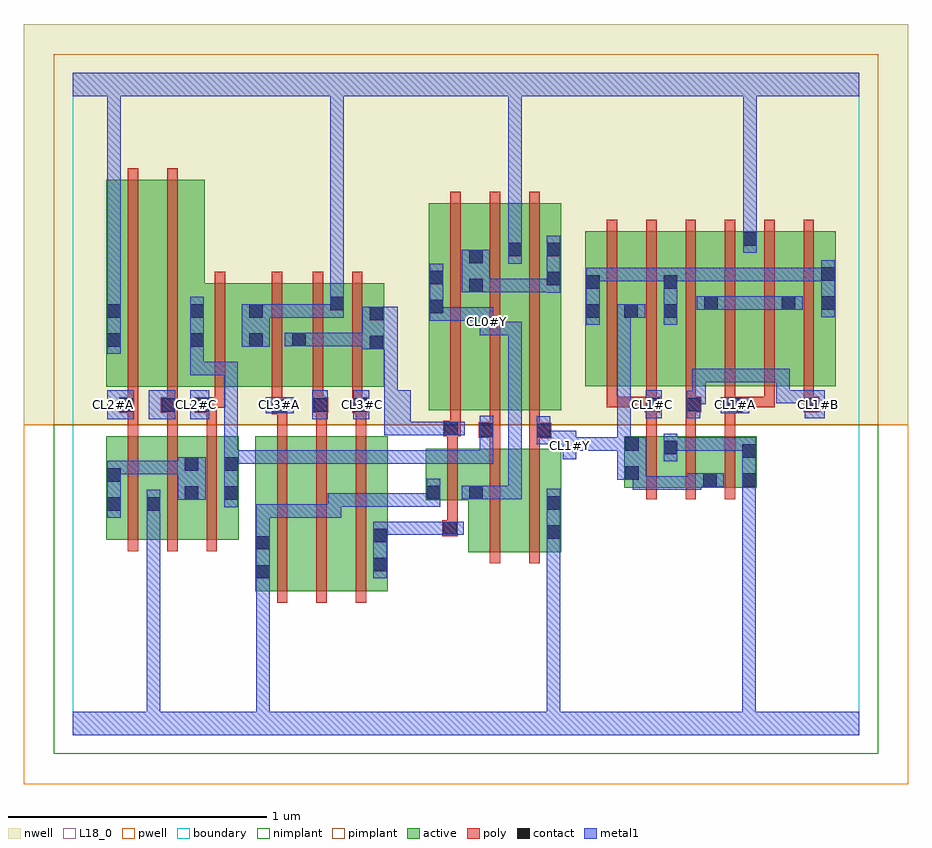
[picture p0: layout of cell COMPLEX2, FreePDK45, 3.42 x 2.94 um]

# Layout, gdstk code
import gdstk
lib = gdstk.Library(unit=1e-6, precision=1e-09)
def R(c, l, rs):  # rectangles x0, y0, x1, y1
    for r in rs: c.add(gdstk.rectangle(r[:2], r[2:], *l))
def A(c, l, x, y, w, h, nx, ny, dx, dy):  # array of equal rectangles
    R(c, l, [(x+i*dx, y+j*dy, x+i*dx+w, y+j*dy+h) for i in range(nx) for j in range(ny)])
active = (1, 0)
pwell = (2, 0)
nwell = (3, 0)
nimplant = (4, 0)
pimplant = (5, 0)
poly = (9, 0)
contact = (10, 0)
metal1 = (11, 0)
L18_0 = (18, 0)
boundary = (235, 0)

complex2 = lib.new_cell('COMPLEX2')
R(complex2, active, [(0.706,0.556,0.766,1.156), (0.706,0.556,0.886,1.156), (0.886,0.556,1.038,1.156), (1.038,0.556,1.218,1.156), (1.158,0.556,1.218,1.156), (1.528,0.708,1.708,1.108), (1.708,0.708,1.888,1.108), (1.828,0.708,1.888,1.108), (0.13,0.756,0.19,1.156), (0.13,0.756,0.342,1.156), (0.282,0.756,0.49,1.156), (0.282,0.756,0.342,0.924), (0.43,0.756,0.49,1.156), (0.43,0.756,0.642,1.156), (0.582,0.756,0.642,1.156), (1.364,0.908,1.424,1.108), (1.364,0.908,1.588,1.108), (1.528,0.908,1.588,0.968), (2.132,0.956,2.192,1.156), (2.132,0.956,2.34,1.156), (2.28,0.956,2.492,1.156), (2.28,0.956,2.34,1.142), (2.432,0.956,2.644,1.156), (2.432,0.956,2.492,1.016), (2.584,0.956,2.644,1.156), (1.376,1.256,1.588,2.056), (1.376,1.256,1.436,2.056), (1.528,1.256,1.74,2.056), (1.528,1.256,1.588,2.056), (1.68,1.256,1.74,2.044), (1.68,1.256,1.888,2.056), (1.828,1.256,1.888,2.044), (0.13,1.346,0.31,2.146), (0.13,1.346,0.19,2.044), (0.31,1.346,0.51,2.146), (0.45,1.346,0.738,1.746), (0.45,1.346,0.51,1.67), (0.678,1.346,0.738,1.746), (0.678,1.346,0.904,1.746), (0.844,1.346,1.052,1.746), (0.844,1.346,0.904,1.644), (0.992,1.346,1.204,1.746), (0.992,1.346,1.052,1.698), (1.144,1.346,1.204,1.66), (1.98,1.348,2.04,1.948), (1.98,1.348,2.188,1.948), (2.128,1.348,2.34,1.948), (2.128,1.348,2.188,1.844), (2.28,1.348,2.34,1.844), (2.28,1.348,2.496,1.948), (2.436,1.348,2.648,1.948), (2.436,1.348,2.496,1.844), (2.588,1.348,2.796,1.948), (2.736,1.348,2.948,1.948), (2.736,1.348,2.796,1.844), (2.888,1.348,2.948,1.948), (2.588,1.352,2.648,1.948)])
R(complex2, pwell, [(-0.188,-0.188,3.228,1.2)])
R(complex2, nwell, [(-0.188,1.2,3.228,2.748)])
R(complex2, nimplant, [(-0.072,-0.072,3.112,1.2)])
R(complex2, pimplant, [(-0.072,1.2,3.112,2.632)])
A(complex2, poly, 0.79, 0.512, 0.04, 0.688, 3, 1, 0.152, 0)
A(complex2, poly, 0.214, 0.712, 0.04, 0.488, 3, 1, 0.152, 0)
A(complex2, poly, 2.216, 0.912, 0.04, 0.288, 3, 1, 0.152, 0)
A(complex2, poly, 0.214, 1.16, 0.04, 0.126, 3, 1, 0.152, 0)
A(complex2, poly, 2.216, 1.16, 0.04, 0.128, 3, 1, 0.152, 0)
A(complex2, poly, 1.46, 1.212, 0.04, 0.888, 3, 1, 0.152, 0)
A(complex2, poly, 2.064, 1.268, 0.04, 0.076, 6, 1, 0.152, 0)
A(complex2, poly, 2.064, 1.304, 0.04, 0.688, 6, 1, 0.152, 0)
R(complex2, poly, [(1.612,0.664,1.652,1.152), (1.764,0.664,1.804,1.152), (1.428,0.77,1.488,0.83), (1.448,0.79,1.488,0.904), (1.448,0.864,1.488,1.152), (1.448,1.112,1.488,1.196), (1.612,1.112,1.652,1.19), (1.764,1.112,1.804,1.188), (1.764,1.148,1.85,1.208), (1.57,1.15,1.652,1.21), (1.432,1.156,1.5,1.216), (1.448,1.156,1.488,1.196), (1.448,1.156,1.488,1.196), (0.79,1.16,0.83,1.28), (0.942,1.16,0.982,1.286), (1.094,1.16,1.134,1.286), (1.764,1.168,1.804,1.208), (1.764,1.168,1.804,1.208), (1.764,1.168,1.804,1.252), (1.612,1.17,1.652,1.21), (1.612,1.17,1.652,1.21), (1.612,1.17,1.652,1.252), (1.46,1.176,1.5,1.252), (0.77,1.24,0.83,1.3), (0.79,1.24,0.83,1.28), (0.79,1.24,0.83,1.28), (0.18,1.246,0.254,1.306), (0.34,1.246,0.406,1.306), (0.366,1.246,0.406,1.286), (0.366,1.246,0.406,1.286), (0.472,1.246,0.558,1.306), (0.928,1.246,0.988,1.306), (0.942,1.246,0.982,1.286), (0.942,1.246,0.982,1.286), (1.08,1.246,1.14,1.306), (1.094,1.246,1.134,1.286), (1.094,1.246,1.134,1.286), (2.21,1.248,2.27,1.308), (2.368,1.248,2.428,1.308), (2.368,1.248,2.408,1.288), (2.368,1.248,2.408,1.288), (2.52,1.248,2.588,1.308), (2.824,1.248,2.884,1.308), (0.77,1.26,0.81,1.342), (0.214,1.266,0.254,1.342), (0.214,1.266,0.254,1.306), (0.214,1.266,0.254,1.306), (0.366,1.266,0.406,1.342), (0.518,1.266,0.558,1.306), (0.518,1.266,0.59,1.306), (0.55,1.266,0.59,1.342), (0.928,1.266,0.968,1.342), (1.08,1.266,1.12,1.342), (2.064,1.268,2.104,1.308), (2.064,1.268,2.256,1.308), (2.216,1.268,2.256,1.308), (2.216,1.268,2.256,1.308), (2.216,1.268,2.256,1.308), (2.216,1.268,2.256,1.308), (2.52,1.268,2.56,1.308), (2.52,1.268,2.56,1.308), (2.52,1.268,2.712,1.308), (2.672,1.268,2.712,1.308), (2.672,1.268,2.712,1.308), (2.672,1.268,2.712,1.308), (0.214,1.302,0.254,2.19), (0.366,1.302,0.406,2.19), (0.55,1.302,0.59,1.79), (0.77,1.302,0.81,1.79), (0.928,1.302,0.968,1.79), (1.08,1.302,1.12,1.79)])
R(complex2, contact, [(0.71,0.606,0.762,0.658), (1.162,0.634,1.214,0.686), (0.71,0.718,0.762,0.77), (1.162,0.746,1.214,0.798), (1.832,0.76,1.884,0.812), (1.432,0.774,1.484,0.826), (0.134,0.868,0.186,0.92), (0.286,0.868,0.338,0.92), (1.832,0.872,1.884,0.924), (0.434,0.91,0.486,0.962), (0.586,0.91,0.638,0.962), (1.368,0.912,1.42,0.964), (1.532,0.912,1.584,0.964), (2.436,0.96,2.488,1.012), (2.588,0.96,2.64,1.012), (0.134,0.98,0.186,1.032), (2.136,0.988,2.188,1.04), (0.434,1.022,0.486,1.074), (0.586,1.022,0.638,1.074), (2.588,1.072,2.64,1.124), (2.284,1.086,2.336,1.138), (2.136,1.1,2.188,1.152), (1.794,1.152,1.846,1.204), (1.574,1.154,1.626,1.206), (1.436,1.16,1.488,1.212), (0.774,1.244,0.826,1.296), (0.184,1.25,0.236,1.302), (0.344,1.25,0.396,1.302), (0.476,1.25,0.528,1.302), (0.932,1.25,0.984,1.302), (1.084,1.25,1.136,1.302), (2.214,1.252,2.266,1.304), (2.372,1.252,2.424,1.304), (2.532,1.252,2.584,1.304), (2.828,1.252,2.88,1.304), (1.148,1.492,1.2,1.544), (0.134,1.502,0.186,1.554), (0.454,1.502,0.506,1.554), (0.682,1.502,0.734,1.554), (0.848,1.504,0.9,1.556), (1.148,1.604,1.2,1.656), (0.134,1.614,0.186,1.666), (0.454,1.614,0.506,1.666), (0.682,1.614,0.734,1.666), (1.984,1.614,2.036,1.666), (2.132,1.614,2.184,1.666), (2.284,1.614,2.336,1.666), (1.38,1.63,1.432,1.682), (0.996,1.642,1.048,1.694), (2.44,1.644,2.492,1.696), (2.74,1.644,2.792,1.696), (2.892,1.644,2.944,1.696), (1.532,1.712,1.584,1.764), (1.984,1.726,2.036,1.778), (2.284,1.726,2.336,1.778), (1.832,1.738,1.884,1.79), (1.38,1.742,1.432,1.794), (2.892,1.756,2.944,1.808), (1.532,1.824,1.584,1.876), (1.684,1.85,1.736,1.902), (1.832,1.85,1.884,1.902), (2.592,1.892,2.644,1.944)])
A(complex2, metal1, 1.16, 1.05, 0.052, 0.052, 3, 1, 0.11, 0)
R(complex2, metal1, [(0,0,3.04,0.092), (0.286,0.04,0.338,0.092), (0.286,0.04,0.338,0.092), (0.286,0.04,0.338,0.092), (0.286,0.04,0.338,0.092), (0.286,0.04,0.338,0.092), (0.286,0.04,0.338,0.092), (0.286,0.04,0.338,0.892), (0.71,0.04,0.762,0.092), (0.71,0.04,0.762,0.092), (0.71,0.04,0.762,0.326), (1.832,0.04,1.884,0.092), (1.832,0.04,1.884,0.092), (1.832,0.04,1.884,0.092), (1.832,0.04,1.884,0.092), (1.832,0.04,1.884,0.092), (1.832,0.04,1.884,0.092), (1.832,0.04,1.884,0.092), (1.832,0.04,1.884,0.092), (1.832,0.04,1.884,0.092), (1.832,0.04,1.884,0.092), (1.832,0.04,1.884,0.092), (1.832,0.04,1.884,0.092), (1.832,0.04,1.884,0.784), (2.588,0.04,2.64,0.092), (2.588,0.04,2.64,0.092), (2.588,0.04,2.64,0.092), (2.588,0.04,2.64,0.092), (2.588,0.04,2.64,0.386), (0.71,0.274,0.762,0.326), (0.71,0.274,0.762,0.326), (0.71,0.274,0.762,0.326), (0.71,0.274,0.762,0.63), (2.588,0.334,2.64,0.386), (2.588,0.334,2.64,0.386), (2.588,0.334,2.64,0.386), (2.588,0.334,2.64,0.386), (2.588,0.334,2.64,0.386), (2.588,0.334,2.64,0.386), (2.588,0.334,2.64,0.386), (2.588,0.334,2.64,0.386), (2.588,0.334,2.64,0.386), (2.588,0.334,2.64,0.386), (2.588,0.334,2.64,0.386), (2.588,0.334,2.64,0.984), (0.71,0.578,0.762,0.63), (0.71,0.578,0.762,0.63), (0.71,0.578,0.762,0.798), (1.162,0.606,1.214,0.826), (1.832,0.732,1.884,0.952), (0.71,0.746,0.762,0.798), (0.71,0.746,0.762,0.798), (0.71,0.746,0.762,0.798), (0.71,0.746,0.762,0.798), (0.71,0.746,0.762,0.892), (1.162,0.774,1.446,0.826), (1.394,0.774,1.446,0.826), (1.394,0.774,1.456,0.826), (1.404,0.774,1.512,0.826), (0.134,0.84,0.186,1.06), (0.286,0.84,0.338,0.892), (0.286,0.84,0.338,0.892), (0.286,0.84,0.338,0.892), (0.286,0.84,0.338,0.892), (0.286,0.84,0.338,0.892), (0.286,0.84,0.338,0.892), (0.286,0.84,0.338,0.948), (0.71,0.84,0.762,0.892), (0.71,0.84,0.762,0.892), (0.71,0.84,0.762,0.892), (0.71,0.84,0.762,0.892), (0.71,0.84,0.762,0.892), (0.71,0.84,0.762,0.892), (0.71,0.84,0.762,0.892), (0.71,0.84,0.872,0.892), (0.82,0.84,0.872,0.892), (0.82,0.84,0.872,0.892), (0.82,0.84,0.872,0.892), (0.82,0.84,1.038,0.892), (0.986,0.84,1.038,0.936), (0.586,0.882,0.638,1.102), (0.986,0.884,1.172,0.936), (1.12,0.884,1.172,0.936), (1.12,0.884,1.172,0.936), (1.12,0.884,1.172,0.936), (1.12,0.884,1.42,0.936), (1.368,0.884,1.42,0.992), (0.406,0.91,0.514,1.074), (1.504,0.912,1.612,0.964), (1.56,0.912,1.736,0.964), (1.684,0.912,1.736,0.964), (1.684,0.912,1.736,0.964), (1.684,0.912,1.736,0.964), (1.684,0.912,1.736,1.598), (2.588,0.932,2.64,1.152), (2.164,0.948,2.216,1), (2.164,0.948,2.216,1), (2.164,0.948,2.216,1), (2.164,0.948,2.336,1), (2.164,0.948,2.216,1.04), (2.284,0.948,2.336,1), (2.284,0.948,2.428,1), (2.376,0.948,2.428,1.012), (2.376,0.96,2.46,1.012), (2.408,0.96,2.516,1.012), (2.104,0.988,2.216,1.152), (0.134,1.008,0.186,1.06), (0.134,1.008,0.186,1.06), (0.134,1.008,0.296,1.06), (0.244,1.008,0.296,1.06), (0.244,1.008,0.376,1.06), (0.324,1.008,0.376,1.06), (0.324,1.008,0.458,1.06), (0.586,1.05,0.638,1.102), (0.586,1.05,0.638,1.102), (0.586,1.05,0.762,1.102), (0.586,1.05,0.638,1.444), (0.71,1.05,0.762,1.102), (0.71,1.05,0.762,1.102), (0.71,1.05,0.762,1.102), (0.71,1.05,0.892,1.102), (0.84,1.05,0.892,1.102), (0.84,1.05,0.892,1.102), (0.84,1.05,0.892,1.102), (0.84,1.05,1.038,1.102), (0.986,1.05,1.038,1.102), (0.986,1.05,1.212,1.102), (1.16,1.05,1.322,1.102), (1.27,1.05,1.432,1.102), (1.38,1.05,1.432,1.102), (1.38,1.05,1.432,1.102), (1.38,1.05,1.626,1.102), (1.574,1.05,1.626,1.178), (2.284,1.058,2.336,1.166), (1.894,1.066,1.946,1.176), (1.894,1.1,1.994,1.152), (1.942,1.1,1.994,1.152), (1.942,1.1,2.056,1.152), (2.004,1.1,2.056,1.152), (2.004,1.1,2.156,1.152), (2.104,1.1,2.156,1.152), (2.104,1.1,2.156,1.152), (2.104,1.1,2.156,1.666), (2.284,1.1,2.446,1.152), (2.394,1.1,2.446,1.152), (2.394,1.1,2.446,1.152), (2.394,1.1,2.446,1.152), (2.394,1.1,2.626,1.152), (2.574,1.1,2.626,1.152), (2.574,1.1,2.64,1.152), (2.588,1.1,2.64,1.152), (2.588,1.1,2.64,1.152), (1.794,1.124,1.846,1.232), (1.794,1.124,1.946,1.176), (1.574,1.126,1.626,1.178), (1.574,1.126,1.626,1.234), (1.204,1.16,1.306,1.334), (1.254,1.16,1.322,1.212), (1.27,1.16,1.322,1.212), (1.27,1.16,1.46,1.212), (1.408,1.16,1.516,1.212), (0.134,1.222,0.236,1.334), (0.294,1.222,0.396,1.334), (0.454,1.222,0.528,1.334), (0.926,1.222,0.986,1.334), (1.084,1.222,1.146,1.334), (2.214,1.224,2.276,1.334), (2.372,1.224,2.424,1.332), (2.828,1.224,2.906,1.334), (0.746,1.244,0.854,1.306), (2.504,1.244,2.614,1.306), (2.372,1.28,2.446,1.332), (2.394,1.28,2.446,1.416), (1.204,1.282,1.256,1.544), (2.718,1.282,2.88,1.334), (2.718,1.282,2.77,1.416), (2.394,1.364,2.63,1.416), (2.578,1.364,2.63,1.416), (2.578,1.364,2.63,1.416), (2.578,1.364,2.63,1.416), (2.578,1.364,2.77,1.416), (2.718,1.364,2.77,1.416), (2.718,1.364,2.77,1.416), (0.454,1.392,0.506,1.444), (0.454,1.392,0.506,1.444), (0.454,1.392,0.506,1.444), (0.454,1.392,0.506,1.526), (0.454,1.392,0.638,1.444), (0.586,1.392,0.638,1.444), (0.134,1.474,0.186,1.694), (0.454,1.474,0.506,1.694), (1.12,1.492,1.256,1.656), (0.654,1.502,0.762,1.666), (0.82,1.504,0.928,1.556), (0.876,1.504,1.024,1.556), (0.972,1.504,1.024,1.556), (0.972,1.504,1.038,1.556), (0.986,1.504,1.038,1.556), (0.986,1.504,1.172,1.556), (1.12,1.504,1.172,1.556), (1.12,1.504,1.172,1.556), (1.574,1.546,1.626,1.598), (1.574,1.546,1.626,1.598), (1.574,1.546,1.736,1.598), (1.574,1.546,1.626,1.654), (1.684,1.546,1.736,1.598), (1.684,1.546,1.736,1.598), (1.684,1.546,1.736,1.598), (1.984,1.586,2.036,1.806), (2.284,1.586,2.336,1.806), (1.38,1.602,1.432,1.654), (1.38,1.602,1.432,1.654), (1.38,1.602,1.432,1.822), (1.38,1.602,1.626,1.654), (1.574,1.602,1.626,1.654), (1.574,1.602,1.626,1.654), (0.71,1.614,0.762,1.666), (0.71,1.614,0.762,1.666), (0.71,1.614,0.872,1.666), (0.82,1.614,0.872,1.666), (0.82,1.614,0.872,1.666), (0.82,1.614,0.872,1.666), (0.82,1.614,1.048,1.666), (0.996,1.614,1.048,1.722), (2.104,1.614,2.156,1.666), (2.104,1.614,2.156,1.666), (2.104,1.614,2.212,1.666), (2.892,1.616,2.944,1.836), (0.134,1.642,0.186,2.52), (2.412,1.644,2.52,1.696), (2.468,1.644,2.63,1.696), (2.578,1.644,2.63,1.696), (2.578,1.644,2.63,1.696), (2.578,1.644,2.63,1.696), (2.578,1.644,2.764,1.696), (2.712,1.644,2.764,1.696), (2.712,1.644,2.764,1.696), (2.712,1.644,2.82,1.696), (0.996,1.67,1.048,1.722), (0.996,1.67,1.048,1.722), (0.996,1.67,1.048,1.722), (0.996,1.67,1.048,1.722), (0.996,1.67,1.048,1.722), (0.996,1.67,1.048,1.722), (0.996,1.67,1.048,1.722), (0.996,1.67,1.048,1.722), (0.996,1.67,1.048,1.722), (0.996,1.67,1.048,1.722), (0.996,1.67,1.048,1.722), (0.996,1.67,1.048,1.722), (0.996,1.67,1.048,1.722), (0.996,1.67,1.048,1.722), (0.996,1.67,1.048,2.52), (1.832,1.71,1.884,1.93), (1.504,1.712,1.612,1.876), (1.56,1.712,1.736,1.764), (1.684,1.712,1.736,1.764), (1.684,1.712,1.736,1.764), (1.684,1.712,1.736,1.764), (1.684,1.712,1.736,1.764), (1.684,1.712,1.736,1.764), (1.684,1.712,1.884,1.764), (1.832,1.712,1.884,1.764), (1.832,1.712,1.884,1.764), (1.984,1.754,2.056,1.806), (2.004,1.754,2.056,1.806), (2.004,1.754,2.226,1.806), (2.174,1.754,2.226,1.806), (2.174,1.754,2.226,1.806), (2.174,1.754,2.226,1.806), (2.174,1.754,2.336,1.806), (2.284,1.754,2.336,1.806), (2.284,1.754,2.336,1.806), (2.284,1.754,2.52,1.806), (2.468,1.754,2.52,1.806), (2.468,1.754,2.632,1.806), (2.58,1.754,2.632,1.806), (2.58,1.754,2.632,1.806), (2.58,1.754,2.632,1.806), (2.58,1.754,2.742,1.806), (2.69,1.754,2.742,1.806), (2.69,1.754,2.742,1.806), (2.69,1.754,2.742,1.806), (2.69,1.754,2.944,1.806), (2.892,1.754,2.944,1.806), (2.892,1.754,2.944,1.806), (1.684,1.822,1.736,1.93), (2.592,1.864,2.644,1.972), (1.684,1.878,1.736,1.93), (1.684,1.878,1.736,1.93), (1.684,1.878,1.736,1.93), (1.684,1.878,1.736,1.93), (1.684,1.878,1.736,1.93), (1.684,1.878,1.736,1.93), (1.684,1.878,1.736,1.93), (1.684,1.878,1.736,1.93), (1.684,1.878,1.736,2.52), (2.592,1.92,2.644,1.972), (2.592,1.92,2.644,1.972), (2.592,1.92,2.644,1.972), (2.592,1.92,2.644,1.972), (2.592,1.92,2.644,1.972), (2.592,1.92,2.644,1.972), (2.592,1.92,2.644,1.972), (2.592,1.92,2.644,1.972), (2.592,1.92,2.644,1.972), (2.592,1.92,2.644,1.972), (2.592,1.92,2.644,1.972), (2.592,1.92,2.644,1.972), (2.592,1.92,2.644,2.52), (0,2.468,3.04,2.56), (0.134,2.468,0.206,2.52), (0.154,2.468,0.206,2.52), (0.154,2.468,0.206,2.52), (0.154,2.468,0.206,2.52), (0.154,2.468,0.206,2.52), (0.154,2.468,0.206,2.52), (0.154,2.468,0.206,2.52), (0.154,2.468,0.206,2.52), (0.996,2.468,1.048,2.52), (0.996,2.468,1.048,2.52)])
A(complex2, L18_0, 0.134, 1.254, 0.052, 0.052, 3, 1, 0.16, 0)
A(complex2, L18_0, 0.774, 1.254, 0.052, 0.052, 4, 1, 0.16, 0)
A(complex2, L18_0, 2.214, 1.254, 0.052, 0.052, 3, 1, 0.32, 0)
A(complex2, L18_0, 1.574, 1.546, 0.052, 0.052, 1, 3, 0, 0.028)
R(complex2, L18_0, [(0,0,3.04,0.092), (0.286,0.04,0.338,0.092), (0.286,0.04,0.338,0.092), (0.286,0.04,0.338,0.092), (0.286,0.04,0.338,0.092), (0.286,0.04,0.338,0.092), (0.286,0.04,0.338,0.092), (0.286,0.04,0.338,0.892), (0.71,0.04,0.762,0.092), (0.71,0.04,0.762,0.092), (0.71,0.04,0.762,0.326), (1.832,0.04,1.884,0.092), (1.832,0.04,1.884,0.092), (1.832,0.04,1.884,0.092), (1.832,0.04,1.884,0.092), (1.832,0.04,1.884,0.092), (1.832,0.04,1.884,0.092), (1.832,0.04,1.884,0.092), (1.832,0.04,1.884,0.092), (1.832,0.04,1.884,0.092), (1.832,0.04,1.884,0.092), (1.832,0.04,1.884,0.092), (1.832,0.04,1.884,0.092), (1.832,0.04,1.884,0.784), (2.588,0.04,2.64,0.092), (2.588,0.04,2.64,0.092), (2.588,0.04,2.64,0.092), (2.588,0.04,2.64,0.092), (2.588,0.04,2.64,0.386), (0.71,0.274,0.762,0.326), (0.71,0.274,0.762,0.326), (0.71,0.274,0.762,0.326), (0.71,0.274,0.762,0.63), (2.588,0.334,2.64,0.386), (2.588,0.334,2.64,0.386), (2.588,0.334,2.64,0.386), (2.588,0.334,2.64,0.386), (2.588,0.334,2.64,0.386), (2.588,0.334,2.64,0.386), (2.588,0.334,2.64,0.386), (2.588,0.334,2.64,0.386), (2.588,0.334,2.64,0.386), (2.588,0.334,2.64,0.386), (2.588,0.334,2.64,0.386), (2.588,0.334,2.64,0.984), (0.71,0.578,0.762,0.798), (0.71,0.578,0.762,0.63), (0.71,0.578,0.762,0.63), (1.162,0.606,1.214,0.826), (1.832,0.732,1.884,0.952), (0.71,0.746,0.762,0.798), (0.71,0.746,0.762,0.798), (0.71,0.746,0.762,0.798), (0.71,0.746,0.762,0.798), (0.71,0.746,0.762,0.892), (1.162,0.774,1.446,0.826), (1.394,0.774,1.446,0.826), (1.394,0.774,1.456,0.826), (1.404,0.774,1.512,0.826), (0.286,0.84,0.338,0.892), (0.286,0.84,0.338,0.892), (0.286,0.84,0.338,0.892), (0.286,0.84,0.338,0.892), (0.286,0.84,0.338,0.892), (0.286,0.84,0.338,0.892), (0.286,0.84,0.338,0.948), (0.71,0.84,0.762,0.892), (0.71,0.84,0.762,0.892), (0.71,0.84,0.762,0.892), (0.71,0.84,0.762,0.892), (0.71,0.84,0.762,0.892), (0.71,0.84,0.762,0.892), (0.71,0.84,0.762,0.892), (0.71,0.84,0.872,0.892), (0.82,0.84,0.872,0.892), (0.82,0.84,0.872,0.892), (0.82,0.84,0.872,0.892), (0.82,0.84,1.038,0.892), (0.986,0.84,1.038,0.936), (0.986,0.884,1.172,0.936), (1.12,0.884,1.172,0.936), (1.12,0.884,1.172,0.936), (1.12,0.884,1.172,0.936), (1.12,0.884,1.42,0.936), (1.368,0.884,1.42,0.992), (1.504,0.912,1.612,0.964), (1.56,0.912,1.736,0.964), (1.684,0.912,1.736,0.964), (1.684,0.912,1.736,0.964), (1.684,0.912,1.736,0.964), (1.684,0.912,1.736,1.598), (2.588,0.932,2.64,1.152), (2.164,0.948,2.216,1), (2.164,0.948,2.216,1), (2.164,0.948,2.216,1), (2.164,0.948,2.216,1.04), (2.164,0.948,2.336,1), (2.284,0.948,2.336,1), (2.284,0.948,2.428,1), (2.376,0.948,2.428,1.012), (2.376,0.96,2.46,1.012), (2.408,0.96,2.516,1.012), (2.104,0.988,2.216,1.152), (2.284,1.058,2.336,1.166), (1.894,1.066,1.946,1.176), (1.894,1.094,1.946,1.146), (1.894,1.1,1.994,1.152), (1.942,1.1,1.994,1.152), (1.942,1.1,2.056,1.152), (2.004,1.1,2.056,1.152), (2.004,1.1,2.156,1.152), (2.104,1.1,2.156,1.152), (2.104,1.1,2.156,1.152), (2.104,1.1,2.156,1.666), (2.284,1.1,2.446,1.152), (2.394,1.1,2.446,1.152), (2.394,1.1,2.446,1.152), (2.394,1.1,2.446,1.152), (2.394,1.1,2.626,1.152), (2.574,1.1,2.626,1.152), (2.574,1.1,2.64,1.152), (2.588,1.1,2.64,1.152), (2.588,1.1,2.64,1.152), (1.794,1.124,1.846,1.232), (1.794,1.124,1.946,1.176), (1.204,1.16,1.306,1.334), (1.254,1.16,1.322,1.212), (1.27,1.16,1.322,1.212), (1.27,1.16,1.46,1.212), (1.408,1.16,1.516,1.212), (0.134,1.222,0.236,1.334), (0.294,1.222,0.396,1.334), (0.454,1.222,0.528,1.334), (0.926,1.222,0.986,1.334), (1.084,1.222,1.146,1.334), (2.214,1.224,2.276,1.334), (2.372,1.224,2.424,1.332), (2.828,1.224,2.906,1.334), (0.746,1.244,0.854,1.306), (2.504,1.244,2.614,1.306), (2.372,1.28,2.446,1.332), (2.394,1.28,2.446,1.416), (1.204,1.282,1.256,1.544), (2.718,1.282,2.88,1.334), (2.718,1.282,2.77,1.416), (2.394,1.364,2.63,1.416), (2.578,1.364,2.63,1.416), (2.578,1.364,2.63,1.416), (2.578,1.364,2.63,1.416), (2.578,1.364,2.77,1.416), (2.718,1.364,2.77,1.416), (2.718,1.364,2.77,1.416), (0.134,1.474,0.186,1.694), (1.12,1.492,1.256,1.656), (0.654,1.502,0.762,1.666), (0.82,1.504,0.928,1.556), (0.876,1.504,1.024,1.556), (0.972,1.504,1.024,1.556), (0.972,1.504,1.038,1.556), (0.986,1.504,1.038,1.556), (0.986,1.504,1.172,1.556), (1.12,1.504,1.172,1.556), (1.12,1.504,1.172,1.556), (1.574,1.546,1.626,1.598), (1.574,1.546,1.626,1.654), (1.574,1.546,1.736,1.598), (1.684,1.546,1.736,1.598), (1.684,1.546,1.736,1.598), (1.684,1.546,1.736,1.598), (1.38,1.602,1.432,1.822), (1.38,1.602,1.432,1.654), (1.38,1.602,1.432,1.654), (1.38,1.602,1.626,1.654), (1.574,1.602,1.626,1.654), (0.71,1.614,0.762,1.666), (0.71,1.614,0.762,1.666), (0.71,1.614,0.872,1.666), (0.82,1.614,0.872,1.666), (0.82,1.614,0.872,1.666), (0.82,1.614,0.872,1.666), (0.82,1.614,1.048,1.666), (0.996,1.614,1.048,1.722), (2.104,1.614,2.156,1.666), (2.104,1.614,2.156,1.666), (2.104,1.614,2.212,1.666), (0.134,1.642,0.186,2.52), (0.996,1.67,1.048,1.722), (0.996,1.67,1.048,1.722), (0.996,1.67,1.048,1.722), (0.996,1.67,1.048,1.722), (0.996,1.67,1.048,1.722), (0.996,1.67,1.048,1.722), (0.996,1.67,1.048,1.722), (0.996,1.67,1.048,1.722), (0.996,1.67,1.048,1.722), (0.996,1.67,1.048,1.722), (0.996,1.67,1.048,1.722), (0.996,1.67,1.048,1.722), (0.996,1.67,1.048,1.722), (0.996,1.67,1.048,1.722), (0.996,1.67,1.048,2.52), (1.684,1.822,1.736,1.93), (2.592,1.864,2.644,1.972), (1.684,1.878,1.736,1.93), (1.684,1.878,1.736,1.93), (1.684,1.878,1.736,1.93), (1.684,1.878,1.736,1.93), (1.684,1.878,1.736,1.93), (1.684,1.878,1.736,1.93), (1.684,1.878,1.736,1.93), (1.684,1.878,1.736,1.93), (1.684,1.878,1.736,2.52), (2.592,1.92,2.644,1.972), (2.592,1.92,2.644,1.972), (2.592,1.92,2.644,1.972), (2.592,1.92,2.644,1.972), (2.592,1.92,2.644,1.972), (2.592,1.92,2.644,1.972), (2.592,1.92,2.644,1.972), (2.592,1.92,2.644,1.972), (2.592,1.92,2.644,1.972), (2.592,1.92,2.644,1.972), (2.592,1.92,2.644,1.972), (2.592,1.92,2.644,1.972), (2.592,1.92,2.644,2.52), (0,2.468,3.04,2.56), (0.134,2.468,0.206,2.52), (0.154,2.468,0.206,2.52), (0.154,2.468,0.206,2.52), (0.154,2.468,0.206,2.52), (0.154,2.468,0.206,2.52), (0.154,2.468,0.206,2.52), (0.154,2.468,0.206,2.52), (0.154,2.468,0.206,2.52), (0.996,2.468,1.048,2.52), (0.996,2.468,1.048,2.52)])
R(complex2, boundary, [(0,0,3.04,2.56)])
complex2.add(gdstk.Label('CL0#Y', (1.6,1.6), layer=11, texttype=0))
complex2.add(gdstk.Label('CL1#A', (2.56,1.28), layer=11, texttype=0))
complex2.add(gdstk.Label('CL1#B', (2.88,1.28), layer=11, texttype=0))
complex2.add(gdstk.Label('CL1#C', (2.24,1.28), layer=11, texttype=0))
complex2.add(gdstk.Label('CL1#Y', (1.92,1.12), layer=11, texttype=0))
complex2.add(gdstk.Label('CL2#A', (0.16,1.28), layer=11, texttype=0))
complex2.add(gdstk.Label('CL2#B', (0.32,1.28), layer=11, texttype=0))
complex2.add(gdstk.Label('CL2#C', (0.48,1.28), layer=11, texttype=0))
complex2.add(gdstk.Label('CL3#A', (0.8,1.28), layer=11, texttype=0))
complex2.add(gdstk.Label('CL3#B', (0.96,1.28), layer=11, texttype=0))
complex2.add(gdstk.Label('CL3#C', (1.12,1.28), layer=11, texttype=0))
complex2.add(gdstk.Label('CL3#Y', (1.28,1.28), layer=11, texttype=0))

lib.write_gds('COMPLEX2.gds')
